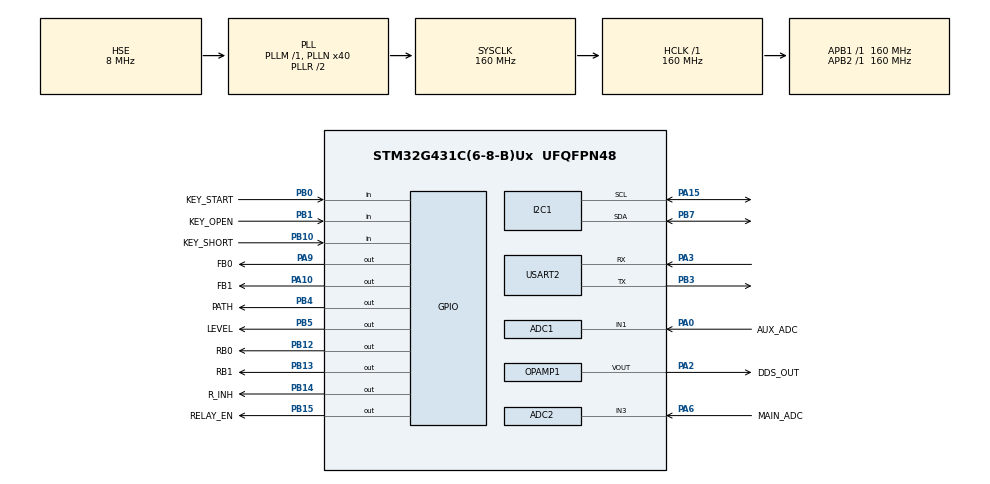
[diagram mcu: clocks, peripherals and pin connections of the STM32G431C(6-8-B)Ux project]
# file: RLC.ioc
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ADC1.Channel-2\#ChannelRegularConversion=ADC_CHANNEL_1
ADC1.NbrOfConversionFlag=1
ADC1.OffsetNumber-2\#ChannelRegularConversion=ADC_OFFSET_NONE
ADC1.Rank-2\#ChannelRegularConversion=1
ADC1.SamplingTime-2\#ChannelRegularConversion=ADC_SAMPLETIME_2CYCLES_5
ADC1.master=1
ADC2.Channel-0\#ChannelRegularConversion=ADC_CHANNEL_3
ADC2.ExternalTrigConv=ADC_EXTERNALTRIG_T3_TRGO
ADC2.NbrOfConversionFlag=1
ADC2.OffsetNumber-0\#ChannelRegularConversion=ADC_OFFSET_NONE
ADC2.Rank-0\#ChannelRegularConversion=1
ADC2.SamplingTime-0\#ChannelRegularConversion=ADC_SAMPLETIME_6CYCLES_5
DAC3.DAC_Trigger_OUT1-DAC_OUT1_Int=DAC_TRIGGER_T2_TRGO
DAC3.WaveGeneration_OUT1-DAC_OUT1_Int=DISABLE
Dma.ADC2.1.Direction=DMA_PERIPH_TO_MEMORY
Dma.ADC2.1.EventEnable=DISABLE
Dma.ADC2.1.Instance=DMA1_Channel2
Dma.ADC2.1.MemDataAlignment=DMA_MDATAALIGN_WORD
Dma.ADC2.1.MemInc=DMA_MINC_ENABLE
Dma.ADC2.1.Mode=DMA_NORMAL
Dma.ADC2.1.PeriphDataAlignment=DMA_PDATAALIGN_WORD
Dma.ADC2.1.PeriphInc=DMA_PINC_DISABLE
Dma.ADC2.1.Polarity=HAL_DMAMUX_REQ_GEN_RISING
Dma.ADC2.1.Priority=DMA_PRIORITY_LOW
Dma.ADC2.1.RequestNumber=1
Dma.ADC2.1.SignalID=NONE
Dma.ADC2.1.SyncEnable=DISABLE
Dma.ADC2.1.SyncPolarity=HAL_DMAMUX_SYNC_NO_EVENT
Dma.ADC2.1.SyncRequestNumber=1
Dma.ADC2.1.SyncSignalID=NONE
Dma.DAC3_CH1.0.Direction=DMA_MEMORY_TO_PERIPH
Dma.DAC3_CH1.0.EventEnable=DISABLE
Dma.DAC3_CH1.0.Instance=DMA1_Channel1
Dma.DAC3_CH1.0.MemDataAlignment=DMA_MDATAALIGN_HALFWORD
Dma.DAC3_CH1.0.MemInc=DMA_MINC_ENABLE
Dma.DAC3_CH1.0.Mode=DMA_CIRCULAR
Dma.DAC3_CH1.0.PeriphDataAlignment=DMA_PDATAALIGN_WORD
Dma.DAC3_CH1.0.PeriphInc=DMA_PINC_DISABLE
Dma.DAC3_CH1.0.Polarity=HAL_DMAMUX_REQ_GEN_RISING
Dma.DAC3_CH1.0.Priority=DMA_PRIORITY_VERY_HIGH
Dma.DAC3_CH1.0.RequestNumber=1
Dma.DAC3_CH1.0.SignalID=NONE
Dma.DAC3_CH1.0.SyncEnable=DISABLE
Dma.DAC3_CH1.0.SyncPolarity=HAL_DMAMUX_SYNC_NO_EVENT
Dma.DAC3_CH1.0.SyncRequestNumber=1
Dma.DAC3_CH1.0.SyncSignalID=NONE
Dma.Request0=DAC3_CH1
Dma.Request1=ADC2
I2C1.Timing=0x30D29DE4
Mcu.Family=STM32G4
Mcu.Name=STM32G431C(6-8-B)Ux
Mcu.Package=UFQFPN48
NVIC.DMA1_Channel1_IRQn=true\:0\:0\:false\:false\:true\:false\:true\:true
NVIC.DMA1_Channel2_IRQn=true\:0\:0\:false\:false\:true\:false\:true\:true
NVIC.PriorityGroup=NVIC_PRIORITYGROUP_4
OPAMP1.PowerMode=OPAMP_POWERMODE_HIGHSPEED
PA0.GPIO_Label=AUX_ADC
PA0.Mode=IN1-Single-Ended
PA0.Signal=ADC1_IN1
PA10.GPIO_Label=FB1
PA10.Signal=GPIO_Output
PA15.Mode=I2C
PA15.Signal=I2C1_SCL
PA2.GPIO_Label=DDS_OUT
PA2.Mode=Follower-DAC_OUT2-INP
PA2.Signal=OPAMP1_VOUT
PA3.Mode=Asynchronous
PA3.Signal=USART2_RX
PA6.GPIO_Label=MAIN_ADC
PA6.Mode=IN3-Single-Ended
PA6.Signal=ADC2_IN3
PA9.GPIO_Label=FB0
PA9.Signal=GPIO_Output
PB0.GPIO_Label=KEY_START
PB0.Signal=GPIO_Input
PB1.GPIO_Label=KEY_OPEN
PB1.Signal=GPIO_Input
PB10.GPIO_Label=KEY_SHORT
PB10.Signal=GPIO_Input
PB12.GPIO_Label=RB0
PB12.Signal=GPIO_Output
PB13.GPIO_Label=RB1
PB13.Signal=GPIO_Output
PB14.GPIO_Label=R_INH
PB14.Signal=GPIO_Output
PB15.GPIO_Label=RELAY_EN
PB15.Signal=GPIO_Output
PB3.Mode=Asynchronous
PB3.Signal=USART2_TX
PB4.GPIO_Label=PATH
PB4.Signal=GPIO_Output
PB5.GPIO_Label=LEVEL
PB5.Signal=GPIO_Output
PB7.Mode=I2C
PB7.Signal=I2C1_SDA
PF0-OSC_IN.Mode=HSE-External-Oscillator
PF0-OSC_IN.Signal=RCC_OSC_IN
PF1-OSC_OUT.Mode=HSE-External-Oscillator
PF1-OSC_OUT.Signal=RCC_OSC_OUT
ProjectManager.HeapSize=0x200
ProjectManager.StackSize=0x400
ProjectManager.TargetToolchain=CMake
RCC.ADC12Freq_Value=160000000
RCC.AHBFreq_Value=160000000
RCC.APB1Freq_Value=160000000
RCC.APB1TimFreq_Value=160000000
RCC.APB2Freq_Value=160000000
RCC.APB2TimFreq_Value=160000000
RCC.CortexFreq_Value=160000000
RCC.EXTERNAL_CLOCK_VALUE=12288000
RCC.HCLKFreq_Value=160000000
RCC.HSE_VALUE=8000000
RCC.HSI48_VALUE=48000000
RCC.HSI_VALUE=16000000
RCC.LSE_VALUE=32768
RCC.PLLN=40
RCC.PLLSourceVirtual=RCC_PLLSOURCE_HSE
RCC.SYSCLKFreq_VALUE=160000000
RCC.SYSCLKSource=RCC_SYSCLKSOURCE_PLLCLK
RCC.USBFreq_Value=160000000
RCC.VCOOutputFreq_Value=320000000
TIM1.TIM_MasterOutputTrigger=TIM_TRGO_ENABLE
TIM2.PeriodNoDither=49
TIM2.TIM_MasterOutputTrigger=TIM_TRGO_UPDATE
TIM3.PeriodNoDither=99
TIM3.TIM_MasterOutputTrigger=TIM_TRGO_UPDATE
TIM6.PeriodNoDither=49
TIM6.TIM_MasterOutputTrigger=TIM_TRGO_UPDATE
USART2.VirtualMode-Asynchronous=VM_ASYNC
VP_DAC3_VS_DACI1.Mode=DAC_OUT1_Int
VP_SYS_VS_DBSignals.Mode=DisableDeadBatterySignals
VP_TIM1_VS_ClockSourceINT.Mode=Internal
VP_TIM2_VS_ClockSourceINT.Mode=Internal
VP_TIM2_VS_ClockSourceITR.Mode=TriggerSource_ITR0
VP_TIM2_VS_ControllerModeTrigger.Mode=Trigger Mode
VP_TIM3_VS_ClockSourceINT.Mode=Internal
VP_TIM3_VS_ClockSourceITR.Mode=TriggerSource_ITR0
VP_TIM3_VS_ControllerModeTrigger.Mode=Trigger Mode
VP_TIM6_VS_ClockSourceINT.Mode=Enable_Timer
board=custom

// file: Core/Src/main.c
/* USER CODE BEGIN Header */
/**
  ******************************************************************************
  * @file           : main.c
  * @brief          : Main program body
  ******************************************************************************
  * @attention
  *
  * Copyright (c) 2026 STMicroelectronics.
  * All rights reserved.
  *
  * This software is licensed under terms that can be found in the LICENSE file
  * in the root directory of this software component.
  * If no LICENSE file comes with this software, it is provided AS-IS.
  *
  ******************************************************************************
  */
/* USER CODE END Header */
#include "main.h"
#include "adc.h"
#include "dac.h"
#include "dma.h"
#include "i2c.h"
#include "opamp.h"
#include "tim.h"
#include "usart.h"
#include "gpio.h"

/* USER CODE BEGIN Includes */

#include "BSP/dds.h"
#include "APP/measurement.h"
/* USER CODE END Includes */

void SystemClock_Config(void);

int main(void)
{

  /* MCU Configuration--------------------------------------------------------*/

  /* Reset of all peripherals, Initializes the Flash interface and the Systick. */
  HAL_Init();

  /* Configure the system clock */
  SystemClock_Config();

  /* Initialize all configured peripherals */
  MX_GPIO_Init();
  MX_DMA_Init();
  MX_ADC1_Init();
  MX_ADC2_Init();
  MX_DAC3_Init();
  MX_I2C1_Init();
  MX_OPAMP1_Init();
  MX_TIM6_Init();
  MX_TIM1_Init();
  MX_USART2_UART_Init();
  MX_TIM2_Init();
  MX_TIM3_Init();
  /* USER CODE BEGIN 2 */
  /* OPAMP1 将 DAC3 的内部信号输出到 PA2 */
  if (HAL_OPAMP_Start(&hopamp1) != HAL_OK)
  {
      Error_Handler();
  }
  /* Q2–Q8 invert the MCU outputs. Keep U4 disabled while selecting
     G1 (RB1_5/RB0_5 = 00) and the 100 Hz filter (FB1_5/FB0_5 = 00). */
  HAL_GPIO_WritePin(RELAY_EN_GPIO_Port, RELAY_EN_Pin, GPIO_PIN_RESET);
  HAL_GPIO_WritePin(RB0_GPIO_Port, RB0_Pin, GPIO_PIN_SET);
  HAL_GPIO_WritePin(RB1_GPIO_Port, RB1_Pin, GPIO_PIN_SET);
  HAL_GPIO_WritePin(FB0_GPIO_Port, FB0_Pin, GPIO_PIN_SET);
  HAL_GPIO_WritePin(FB1_GPIO_Port, FB1_Pin, GPIO_PIN_SET);

  /* PATH_5 = 1 selects I_D, LEVEL_5 = 0 routes FILT to ADC2. */
  HAL_GPIO_WritePin(PATH_GPIO_Port, PATH_Pin, GPIO_PIN_RESET);
  HAL_GPIO_WritePin(LEVEL_GPIO_Port, LEVEL_Pin, GPIO_PIN_SET);
  HAL_GPIO_WritePin(R_INH_GPIO_Port, R_INH_Pin, GPIO_PIN_SET);

  /* Calibrate at startup, then enter the production measurement interface. */
  if (Measurement_Init(&Mode2, GPIO_PIN_RESET) != HAL_OK)
  {
    Error_Handler();
  }
  /* USER CODE END 2 */

  /* Infinite loop */
  while (1)
  {

    /* USER CODE BEGIN 3 */
    (void)Measurement_Update();
  }
  /* USER CODE END 3 */
}

void SystemClock_Config(void)
{
  RCC_OscInitTypeDef RCC_OscInitStruct = {0};
  RCC_ClkInitTypeDef RCC_ClkInitStruct = {0};

  /** Configure the main internal regulator output voltage
  */
  HAL_PWREx_ControlVoltageScaling(PWR_REGULATOR_VOLTAGE_SCALE1_BOOST);

  /** Initializes the RCC Oscillators according to the specified parameters
  * in the RCC_OscInitTypeDef structure.
  */
  RCC_OscInitStruct.OscillatorType = RCC_OSCILLATORTYPE_HSE;
  RCC_OscInitStruct.HSEState = RCC_HSE_ON;
  RCC_OscInitStruct.PLL.PLLState = RCC_PLL_ON;
  RCC_OscInitStruct.PLL.PLLSource = RCC_PLLSOURCE_HSE;
  RCC_OscInitStruct.PLL.PLLM = RCC_PLLM_DIV1;
  RCC_OscInitStruct.PLL.PLLN = 40;
  RCC_OscInitStruct.PLL.PLLP = RCC_PLLP_DIV2;
  RCC_OscInitStruct.PLL.PLLQ = RCC_PLLQ_DIV2;
  RCC_OscInitStruct.PLL.PLLR = RCC_PLLR_DIV2;
  if (HAL_RCC_OscConfig(&RCC_OscInitStruct) != HAL_OK)
  {
    Error_Handler();
  }

  /** Initializes the CPU, AHB and APB buses clocks
  */
  RCC_ClkInitStruct.ClockType = RCC_CLOCKTYPE_HCLK|RCC_CLOCKTYPE_SYSCLK
                              |RCC_CLOCKTYPE_PCLK1|RCC_CLOCKTYPE_PCLK2;
  RCC_ClkInitStruct.SYSCLKSource = RCC_SYSCLKSOURCE_PLLCLK;
  RCC_ClkInitStruct.AHBCLKDivider = RCC_SYSCLK_DIV1;
  RCC_ClkInitStruct.APB1CLKDivider = RCC_HCLK_DIV1;
  RCC_ClkInitStruct.APB2CLKDivider = RCC_HCLK_DIV1;

  if (HAL_RCC_ClockConfig(&RCC_ClkInitStruct, FLASH_LATENCY_4) != HAL_OK)
  {
    Error_Handler();
  }
}

void Error_Handler(void)
{
  __disable_irq();
  while (1)
  {
  }
}
